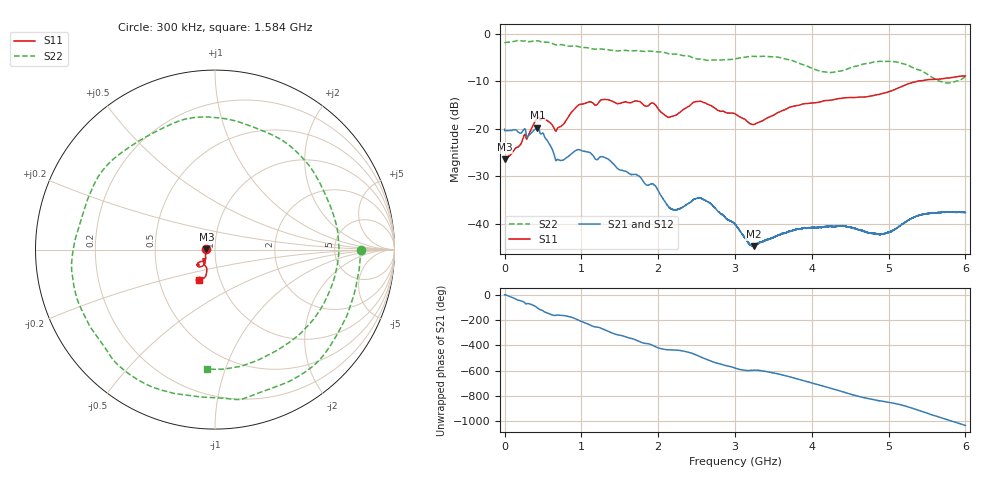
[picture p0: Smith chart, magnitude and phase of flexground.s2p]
!  8/6/2020  01:39:18
! Ref Plane: 0.000 mm
# MHZ S MA R  50
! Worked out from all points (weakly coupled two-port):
!   10001 points, 300 kHz to 6 GHz, reference 50 ohm
!   highest |S21| = -19.76 dB at 428.1 MHz (marker M1); lowest = -44.7 dB at 3.242 GHz (marker M2)
!   lowest |S11| = -26.5 dB at 300 kHz (marker M3), VSWR 1.10, Z = 45.5 + j0.107 ohm
!   |S11| at or under -10 dB: start of sweep to 5.378 GHz
!   |S22| runs from -10.4 to -1.4 dB; largest |S21 - S12| = 0.0024
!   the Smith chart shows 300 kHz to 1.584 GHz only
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0.3  0.04758 178.6  0.09887 -1.1  0.09653 -0.8  0.8155 -0.3
246.2877  0.08126 -134.5  0.09667 -57.3  0.0967 -57.4  0.834 -70.6
428.0786  0.1315 -132.7  0.1028 -104.9  0.103 -105.0  0.8425 -124.2
681.8659  0.09846 -127.9  0.0469 -161.2  0.04701 -161.2  0.7622 162.3
1000.45  0.1804 -114.9  0.05882 146.9  0.05888 146.9  0.7164 73.7
1261.437  0.2015 -116.4  0.05077 92.0  0.05079 91.9  0.6896 -2.1
1544.623  0.1894 -116.8  0.03616 32.5  0.03619 32.4  0.6661 -83.4
1791.21  0.1843 -119.2  0.02909 -19.5  0.02917 -19.6  0.6534 -149.9
2000.6  0.1616 -120.0  0.02227 -60.9  0.0223 -61.2  0.6433 155.3
2258.587  0.1437 -91.0  0.01416 -79.8  0.0142 -79.8  0.6065 87.3
2543.573  0.1947 -91.1  0.0187 -129.3  0.01869 -129.4  0.5428 5.4
2783.561  0.1551 -91.2  0.01335 176.2  0.01336 176.0  0.5285 -67.5
3000.15  0.1434 -83.0  0.009803 139.6  0.009889 139.9  0.5427 -130.4
3241.938  0.1105 -63.6  0.0058 123.3  0.005823 123.2  0.5778 167.1
3580.921  0.1506 -35.7  0.007661 91.6  0.007597 91.3  0.5615 86.2
4000.3  0.1859 -25.7  0.009094 22.7  0.009047 22.7  0.4326 -25.5
4227.089  0.1992 -19.1  0.009378 -15.3  0.009357 -15.9  0.3918 -100.0
4499.475  0.2128 -13.2  0.009146 -64.3  0.009181 -64.6  0.4367 174.1
5000.45  0.2435 5.0  0.00809 -130.4  0.008073 -130.1  0.5103 52.1
5248.238  0.2953 9.4  0.01072 -165.2  0.01083 -165.3  0.468 -3.1
5518.824  0.3283 8.8  0.01278 141.0  0.0128 141.0  0.3675 -74.7
6000  0.3592 9.2  0.01309 47.8  0.01311 47.8  0.3538 121.4
